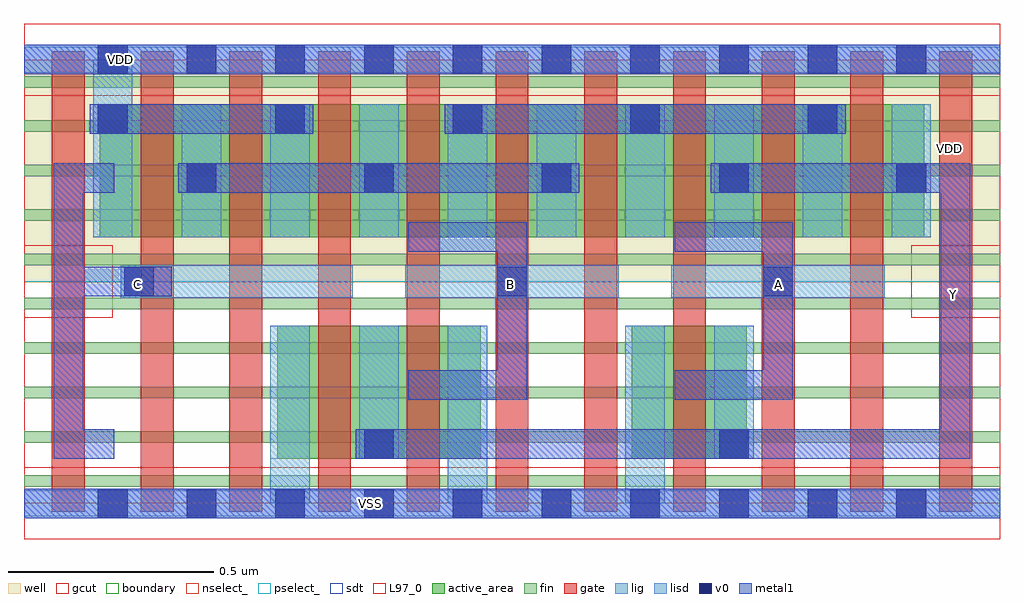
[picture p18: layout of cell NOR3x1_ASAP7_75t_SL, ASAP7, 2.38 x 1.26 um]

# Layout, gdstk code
import gdstk
lib = gdstk.Library(unit=1e-6, precision=2.5e-10)
def R(c, l, rs):  # rectangles x0, y0, x1, y1
    for r in rs: c.add(gdstk.rectangle(r[:2], r[2:], *l))
def A(c, l, x, y, w, h, nx, ny, dx, dy):  # array of equal rectangles
    R(c, l, [(x+i*dx, y+j*dy, x+i*dx+w, y+j*dy+h) for i in range(nx) for j in range(ny)])
def P(c, l, *ps):  # polygons
    for p in ps: c.add(gdstk.Polygon(p, *l))
well = (1, 0)
fin = (2, 0)
gate = (7, 0)
gcut = (10, 0)
active_area = (11, 0)
nselect_ = (12, 0)
pselect_ = (13, 0)
lig = (16, 0)
lisd = (17, 0)
v0 = (18, 0)
metal1 = (19, 0)
sdt = (88, 0)
L97_0 = (97, 0)
boundary = (100, 0)

nor3x1_asap7_75t_sl = lib.new_cell('NOR3x1_ASAP7_75t_SL')
R(nor3x1_asap7_75t_sl, well, [(0,0.54,2.376,1.08)])
A(nor3x1_asap7_75t_sl, fin, 0, 0.04, 2.376, 0.028, 1, 10, 0, 0.108)
A(nor3x1_asap7_75t_sl, gate, 0.068, -0.02, 0.08, 1.12, 11, 1, 0.216, 0)
R(nor3x1_asap7_75t_sl, gcut, [(0,-0.088,2.376,0.088), (0,0.452,0.216,0.628), (2.16,0.452,2.376,0.628), (0,0.992,2.376,1.168)])
R(nor3x1_asap7_75t_sl, active_area, [(0.616,0.108,1.112,0.432), (1.48,0.108,1.76,0.432), (0.184,0.648,2.192,0.972)])
R(nor3x1_asap7_75t_sl, nselect_, [(0,0,2.376,0.54)])
R(nor3x1_asap7_75t_sl, pselect_, [(0,0.54,2.376,1.08)])
R(nor3x1_asap7_75t_sl, lig, [(0,-0.032,2.376,0.032), (0.236,0.5,0.8,0.58), (0.928,0.5,1.448,0.58), (1.576,0.5,2.096,0.58), (0,1.048,2.376,1.112)])
A(nor3x1_asap7_75t_sl, lisd, 0.6, 0, 0.096, 0.432, 3, 1, 0.432, 0)
A(nor3x1_asap7_75t_sl, lisd, 0.384, 0.648, 0.096, 0.324, 9, 1, 0.216, 0)
R(nor3x1_asap7_75t_sl, lisd, [(0.816,0.108,0.912,0.432), (1.68,0.108,1.776,0.432), (0.168,0.648,0.264,1.08)])
A(nor3x1_asap7_75t_sl, v0, 0.18, -0.036, 0.072, 0.072, 10, 2, 0.216, 1.08)
A(nor3x1_asap7_75t_sl, v0, 0.396, 0.756, 0.072, 0.072, 5, 1, 0.432, 0)
A(nor3x1_asap7_75t_sl, v0, 0.18, 0.9, 0.072, 0.072, 5, 1, 0.432, 0)
R(nor3x1_asap7_75t_sl, v0, [(0.828,0.108,0.9,0.18), (1.692,0.108,1.764,0.18), (0.244,0.504,0.316,0.576), (1.152,0.504,1.224,0.576), (1.8,0.504,1.872,0.576)])
R(nor3x1_asap7_75t_sl, metal1, [(0,-0.036,2.376,0.036), (0.376,0.756,1.352,0.828), (0.16,0.9,0.704,0.972), (1.024,0.9,2,0.972), (0,1.044,2.376,1.116)])
P(nor3x1_asap7_75t_sl, metal1, [(0.36,0.576),(0.144,0.576),(0.144,0.756),(0.22,0.756),(0.22,0.828),(0.072,0.828),(0.072,0.108),(0.22,0.108),(0.22,0.18),(0.144,0.18),(0.144,0.504),(0.36,0.504)],
  [(1.224,0.684),(0.936,0.684),(0.936,0.612),(1.152,0.612),(1.152,0.324),(0.936,0.324),(0.936,0.252),(1.224,0.252)],
  [(2.304,0.108),(0.808,0.108),(0.808,0.18),(2.232,0.18),(2.232,0.756),(1.672,0.756),(1.672,0.828),(2.304,0.828)],
  [(1.872,0.684),(1.584,0.684),(1.584,0.612),(1.8,0.612),(1.8,0.324),(1.584,0.324),(1.584,0.252),(1.872,0.252)])
A(nor3x1_asap7_75t_sl, sdt, 0.6, 0.108, 0.096, 0.324, 3, 1, 0.216, 0)
A(nor3x1_asap7_75t_sl, sdt, 0.168, 0.648, 0.096, 0.324, 10, 1, 0.216, 0)
R(nor3x1_asap7_75t_sl, sdt, [(1.464,0.108,1.56,0.432), (1.68,0.108,1.776,0.432)])
R(nor3x1_asap7_75t_sl, L97_0, [(0,0,2.376,1.08)])
R(nor3x1_asap7_75t_sl, boundary, [(0,0,2.376,1.08)])
nor3x1_asap7_75t_sl.add(gdstk.Label('VSS', (0.844,0), layer=19, texttype=251))
nor3x1_asap7_75t_sl.add(gdstk.Label('VDD', (0.236,1.08), layer=19, texttype=251))
nor3x1_asap7_75t_sl.add(gdstk.Label('Y', (2.264,0.508), layer=19, texttype=251))
nor3x1_asap7_75t_sl.add(gdstk.Label('C', (0.276,0.532), layer=19, texttype=251))
nor3x1_asap7_75t_sl.add(gdstk.Label('B', (1.184,0.532), layer=19, texttype=251))
nor3x1_asap7_75t_sl.add(gdstk.Label('A', (1.836,0.532), layer=19, texttype=251))
nor3x1_asap7_75t_sl.add(gdstk.Label('VDD', (2.252,0.864), layer=1, texttype=251))
nor3x1_asap7_75t_sl.add(gdstk.Label('VSS', (2.528,0.86), layer=3, texttype=251))

lib.write_gds('NOR3x1_ASAP7_75t_SL.gds')
